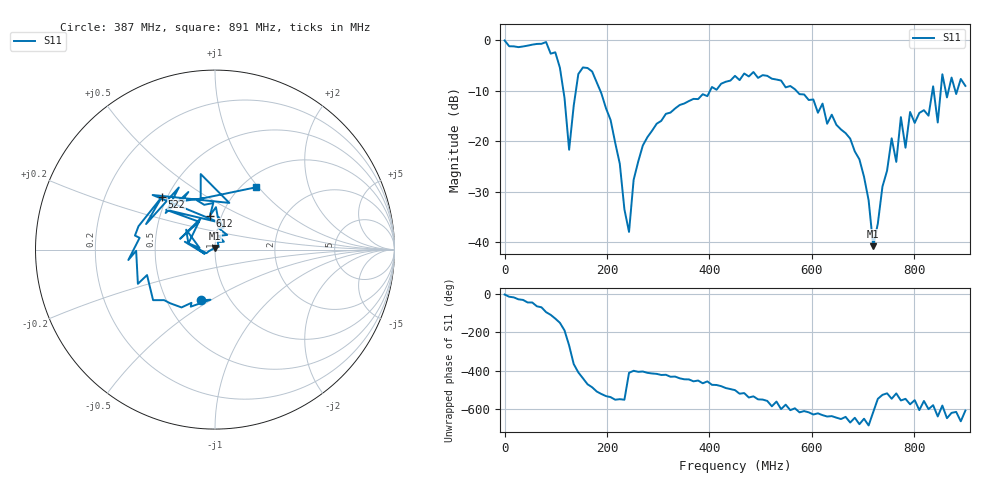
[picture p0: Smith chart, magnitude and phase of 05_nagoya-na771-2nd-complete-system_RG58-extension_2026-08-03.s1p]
! Antenna S11 sweep  |  Antenna #5: SECOND complete deployed system (own Nagoya NA-771 + Eifagur mag mount on Sprinter roof), identical to #4 EXCEPT extension cable = longer RG58 (vs #4's 10ft KMR400). A/B of two complete systems, feedline extension the variable. RG58 extension = more loss at UHF/80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
! Device: NanoVNA-H fw1.2.44  |  cal 50kHz-900MHz  |  101 points
# Hz S RI R 50
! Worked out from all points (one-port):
!   101 points, 50 kHz to 900 MHz, reference 50 ohm
!   lowest |S11| = -40.8 dB at 720 MHz (marker M1), VSWR 1.02, Z = 49.8 + j0.877 ohm
!   |S11| at or under -10 dB: 114.9 MHz to 139.2 MHz (24.31 MHz wide, 19.1 % of centre); 187 MHz to 401.2 MHz (214.2 MHz wide, 72.8 % of centre); 570 MHz to 835.6 MHz (265.6 MHz wide, 37.8 % of centre)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
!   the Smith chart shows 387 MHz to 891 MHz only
!   S11 on the Smith chart (normalised r, x): 387 MHz: 0.74, -0.46; 522 MHz: 0.47, +0.34; 612 MHz: 0.88, +0.35; 891 MHz: 1.15, +0.97
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50000  0.9988 -0.0388
5.4047e7  0.6572 -0.6268
8.10455e7  -0.0667 -0.9618
9.90445e7  -0.4652 -0.6041
1.170435e8  -0.2654 0.0427
1.26043e8  -0.00352 0.0823
1.44042e8  0.3089 -0.3473
1.710405e8  -0.2884 -0.3985
2.250375e8  -0.0592 0.00815
2.430365e8  0.00803 -0.00973
2.70035e8  0.0658 -0.0627
3.42031e8  0.0432 -0.2248
3.870285e8  -0.0764 -0.2828
4.50025e8  -0.3449 -0.2817
5.22021e8  -0.2945 0.2957
5.670185e8  -0.1862 0.2701
6.12016e8  -0.0277 0.1899
6.750125e8  0.068 0.0817
7.2001e8  -0.00235 0.00881
7.56008e8  -0.1066 0.0104
7.650075e8  -0.0579 -0.0235
7.92006e8  -0.1606 0.111
8.370035e8  -0.2719 0.2217
8.46003e8  0.0213 0.152
8.550025e8  -0.3476 0.3043
8.64002e8  0.0799 0.2602
8.910005e8  0.2275 0.3468
9e8  -0.137 0.3267
